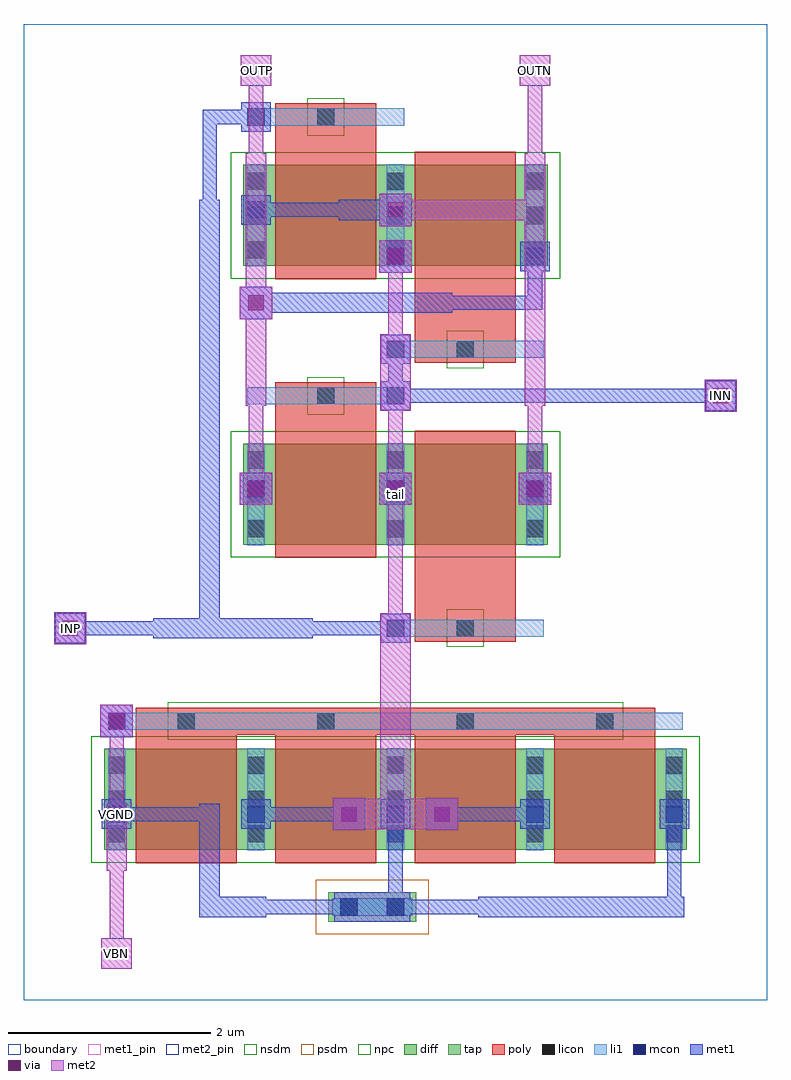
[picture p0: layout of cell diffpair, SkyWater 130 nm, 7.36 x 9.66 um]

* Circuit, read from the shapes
.subckt diffpair INN INP OUTN OUTP VBN VGND tail
XM1 tail VBN VGND VGND sky130_fd_pr__nfet_01v8 w=1 l=1 m=4
XM2 tail INN OUTP VGND sky130_fd_pr__nfet_01v8 w=1 l=1 m=2
XM3 tail INP OUTN VGND sky130_fd_pr__nfet_01v8 w=1 l=1 m=2
.ends

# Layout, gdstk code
import gdstk
lib = gdstk.Library(unit=1e-6, precision=1e-09)
def R(c, l, rs):  # rectangles x0, y0, x1, y1
    for r in rs: c.add(gdstk.rectangle(r[:2], r[2:], *l))
def A(c, l, x, y, w, h, nx, ny, dx, dy):  # array of equal rectangles
    R(c, l, [(x+i*dx, y+j*dy, x+i*dx+w, y+j*dy+h) for i in range(nx) for j in range(ny)])
diff = (65, 20)
tap = (65, 44)
poly = (66, 20)
licon = (66, 44)
li1 = (67, 20)
mcon = (67, 44)
met1_pin = (68, 16)
met1 = (68, 20)
via = (68, 44)
met2_pin = (69, 16)
met2 = (69, 20)
nsdm = (93, 44)
psdm = (94, 20)
npc = (95, 20)
boundary = (235, 4)

diffpair = lib.new_cell('diffpair')
R(diffpair, diff, [(0.795,1.485,6.565,2.485), (2.175,4.505,5.185,5.505), (2.175,7.265,5.185,8.265)])
R(diffpair, tap, [(3.015,0.775,3.885,1.065)])
A(diffpair, poly, 1.11, 1.355, 1, 1.405, 4, 1, 1.38, 0)
R(diffpair, poly, [(1.11,2.625,6.25,2.895), (3.87,3.545,4.87,3.815), (3.87,3.68,4.87,5.635), (2.49,4.375,3.49,5.98), (2.49,5.845,3.49,6.115), (3.87,6.305,4.87,6.575), (3.87,6.44,4.87,8.395), (2.49,7.135,3.49,8.74), (2.49,8.605,3.49,8.875)])
A(diffpair, licon, 0.835, 1.56, 0.17, 0.17, 5, 3, 1.38, 0.34)
A(diffpair, licon, 1.525, 2.675, 0.17, 0.17, 4, 1, 1.38, 0)
A(diffpair, licon, 2.215, 4.58, 0.17, 0.17, 3, 3, 1.38, 0.34)
A(diffpair, licon, 2.215, 7.34, 0.17, 0.17, 3, 3, 1.38, 0.34)
R(diffpair, licon, [(3.135,0.835,3.305,1.005), (3.595,0.835,3.765,1.005), (4.285,3.595,4.455,3.765), (2.905,5.895,3.075,6.065), (4.285,6.355,4.455,6.525), (2.905,8.655,3.075,8.825)])
A(diffpair, li1, 0.835, 1.48, 0.17, 1.01, 5, 1, 1.38, 0)
A(diffpair, li1, 2.215, 4.5, 0.17, 1.01, 3, 2, 1.38, 2.76)
R(diffpair, li1, [(3.055,0.835,3.845,1.005), (0.835,2.675,6.525,2.845), (3.595,3.595,5.145,3.765), (2.215,5.895,3.765,6.065), (3.595,6.355,5.145,6.525), (2.215,8.655,3.765,8.825)])
A(diffpair, mcon, 0.835, 1.755, 0.17, 0.17, 5, 1, 1.38, 0)
A(diffpair, mcon, 2.215, 4.975, 0.17, 0.17, 3, 1, 1.38, 0)
R(diffpair, mcon, [(3.135,0.835,3.305,1.005), (3.595,0.835,3.765,1.005), (0.835,2.675,1.005,2.845), (3.595,3.595,3.765,3.765), (3.595,5.895,3.765,6.065), (3.595,6.355,3.765,6.525), (3.595,7.275,3.765,7.445), (4.975,7.275,5.145,7.445), (2.215,7.735,2.385,7.905), (2.215,8.655,2.385,8.825)])
R(diffpair, met1_pin, [(0.775,1.695,1.065,1.985)])
A(diffpair, met1, 0.775, 1.695, 0.29, 0.29, 5, 1, 1.38, 0)
A(diffpair, met1, 2.14, 4.9, 0.32, 0.32, 3, 1, 1.38, 0)
A(diffpair, met1, 2.155, 4.915, 0.29, 0.29, 3, 1, 1.38, 0)
R(diffpair, met1, [(3.075,0.775,3.825,1.065), (1.74,0.82,2.4,1.02), (1.74,0.82,1.94,1.94), (4.5,0.82,6.54,1.02), (2.23,0.85,3.29,0.99), (3.15,0.85,3.75,0.99), (3.15,0.85,3.29,0.99), (3.61,0.85,4.67,0.99), (3.61,0.85,3.75,1.91), (6.37,0.85,6.51,1.91), (3.06,1.68,3.38,2), (3.98,1.68,4.3,2), (0.85,1.77,1.91,1.91), (2.23,1.77,3.29,1.91), (4.07,1.77,5.13,1.91), (0.76,2.6,1.08,2.92), (0.775,2.615,1.065,2.905), (0.3,3.52,0.62,3.84), (3.535,3.535,3.825,3.825), (1.28,3.58,2.86,3.78), (1.74,3.58,1.94,7.92), (0.39,3.61,1.45,3.75), (2.69,3.61,3.75,3.75), (6.74,5.82,7.06,6.14), (3.535,5.835,3.825,6.125), (3.61,5.91,3.75,6.51), (3.61,5.91,6.97,6.05), (3.535,6.295,3.825,6.585), (2.14,6.74,2.46,7.06), (2.2,6.8,4.24,7), (4.07,6.83,5.13,6.97), (4.99,6.83,5.13,7.43), (3.52,7.2,3.84,7.52), (3.535,7.215,3.825,7.505), (4.915,7.215,5.205,7.505), (3.52,7.66,3.84,7.98), (2.155,7.675,2.445,7.965), (3.12,7.72,3.78,7.92), (1.77,7.75,1.91,8.81), (2.23,7.75,3.29,7.89), (2.155,8.595,2.445,8.885), (1.77,8.67,2.37,8.81)])
A(diffpair, via, 2.225, 4.985, 0.15, 0.15, 3, 1, 1.38, 0)
R(diffpair, via, [(3.145,1.765,3.295,1.915), (4.065,1.765,4.215,1.915), (0.845,2.685,0.995,2.835), (0.385,3.605,0.535,3.755), (6.825,5.905,6.975,6.055), (2.225,6.825,2.375,6.975), (3.605,7.285,3.755,7.435), (3.605,7.745,3.755,7.895)])
R(diffpair, met2_pin, [(0.77,0.31,1.07,0.61), (0.31,3.53,0.61,3.83), (6.75,5.83,7.05,6.13), (2.15,9.05,2.45,9.35), (4.91,9.05,5.21,9.35)])
A(diffpair, met2, 2.14, 4.9, 0.32, 0.32, 3, 1, 1.38, 0)
A(diffpair, met2, 2.23, 4.99, 0.14, 1.06, 3, 1, 1.38, 0)
R(diffpair, met2, [(0.77,0.31,1.07,0.61), (0.85,0.39,0.99,1.45), (0.85,0.39,0.99,0.53), (0.82,1.28,1.02,1.94), (3.06,1.68,3.38,2), (3.98,1.68,4.3,2), (3.07,1.69,3.83,1.99), (3.53,1.69,3.83,3.83), (3.53,1.69,4.29,1.99), (0.85,1.77,0.99,2.83), (0.76,2.6,1.08,2.92), (0.3,3.52,0.62,3.84), (0.31,3.53,0.61,3.83), (0.39,3.61,0.53,3.75), (3.61,3.61,3.75,5.13), (6.74,5.82,7.06,6.14), (3.53,5.83,3.83,6.59), (6.75,5.83,7.05,6.13), (2.2,5.88,2.4,8.38), (4.96,5.88,5.16,8.38), (6.83,5.91,6.97,6.05), (3.61,6.37,3.75,7.43), (2.14,6.74,2.46,7.06), (3.52,7.2,3.84,7.52), (3.52,7.66,3.84,7.98), (3.58,7.72,5.16,7.92), (2.23,8.21,2.37,9.27), (4.99,8.21,5.13,9.27), (2.15,9.05,2.45,9.35), (4.91,9.05,5.21,9.35), (2.23,9.13,2.37,9.27), (4.99,9.13,5.13,9.27)])
R(diffpair, nsdm, [(0.67,1.36,6.69,2.61), (2.05,4.38,5.31,5.63), (2.05,7.14,5.31,8.39)])
R(diffpair, psdm, [(2.89,0.65,4.01,1.19)])
R(diffpair, npc, [(1.425,2.575,5.935,2.945), (4.185,3.495,4.555,3.865), (2.805,5.795,3.175,6.165), (4.185,6.255,4.555,6.625), (2.805,8.555,3.175,8.925)])
R(diffpair, boundary, [(0,0,7.36,9.66)])
diffpair.add(gdstk.Label('tail', (3.68,5.005), layer=67, texttype=5))
diffpair.add(gdstk.Label('VGND', (0.92,1.84), layer=68, texttype=5))
diffpair.add(gdstk.Label('INP', (0.46,3.68), layer=69, texttype=5))
diffpair.add(gdstk.Label('INN', (6.9,5.98), layer=69, texttype=5))
diffpair.add(gdstk.Label('VBN', (0.92,0.46), layer=69, texttype=5))
diffpair.add(gdstk.Label('OUTP', (2.3,9.2), layer=69, texttype=5))
diffpair.add(gdstk.Label('OUTN', (5.06,9.2), layer=69, texttype=5))
diffpair.add(gdstk.Label('VGND', (0.92,1.84), layer=68, texttype=16))
diffpair.add(gdstk.Label('INP', (0.46,3.68), layer=69, texttype=16))
diffpair.add(gdstk.Label('INN', (6.9,5.98), layer=69, texttype=16))
diffpair.add(gdstk.Label('VBN', (0.92,0.46), layer=69, texttype=16))
diffpair.add(gdstk.Label('OUTP', (2.3,9.2), layer=69, texttype=16))
diffpair.add(gdstk.Label('OUTN', (5.06,9.2), layer=69, texttype=16))

lib.write_gds('diffpair.gds')
